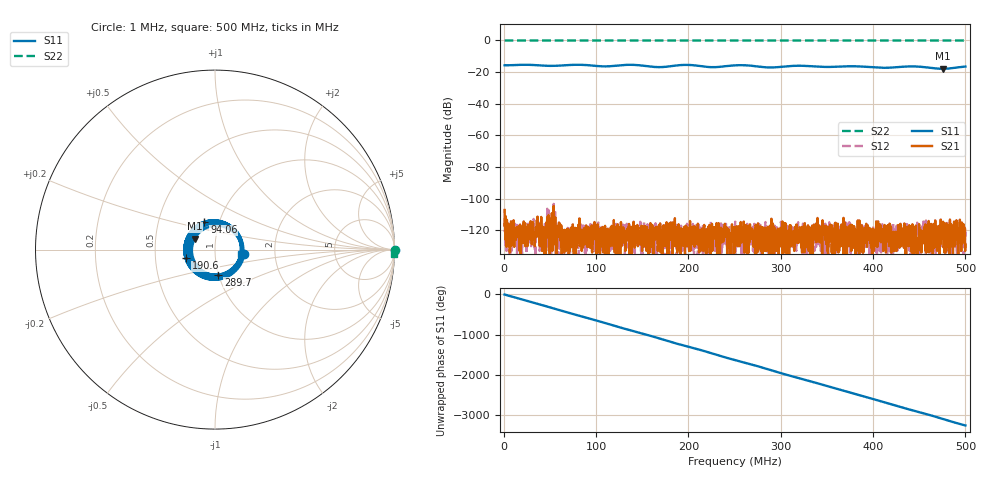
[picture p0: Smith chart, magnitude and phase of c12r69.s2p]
! MS46122B
! 1746301/73750021
! 11/3/2023 2:24:03 PM
! C:\USERS\SPEGWAL\DOWNLOADS\SAURABH\REACH\NODES\FRONT END\MEASUREMENTS\MEASURED S-PARAMETERS_03-11-2023\MS3-MS4_MS1_CABLE\69OHMS_SOURCE_S11.S2P
! CHANNEL.1
! TR.MEASUREMENT
! CORRECTED.DATA
# GHZ S RI R 50.0
! FREQ.GHZ  S11RE  S11IM  S21RE  S21IM  S12RE  S12IM  S22RE  S22IM
!; PortSelection: Port_12
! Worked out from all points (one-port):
!   2001 points, 1 MHz to 500 MHz, reference 50 ohm
!   lowest |S11| = -17.9 dB at 475.5 MHz (marker M1), VSWR 1.29, Z = 39.7 + j4.94 ohm
!   |S11| at or under -10 dB: start of sweep to end of sweep
!   S11 on the Smith chart (normalised r, x): 1 MHz: 1.39, -0.06; 94.06 MHz: 0.85, +0.27; 190.6 MHz: 0.72, -0.07; 289.7 MHz: 1.00, -0.28; 500 MHz: 1.34, -0.07
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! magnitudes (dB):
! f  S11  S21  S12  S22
! 1 MHz  -15.7  -107.1  -112.0  0.0
! 25.2 MHz  -15.4  -128.9  -127.0  0.0
! 52.4 MHz  -16.0  -120.7  -115.6  0.0
! 84.33 MHz  -15.4  -122.1  -120.7  0.0
! 94.06 MHz  -15.7  -118.4  -124.7  0.0
! 111 MHz  -16.4  -120.1  -124.0  0.0
! 139.2 MHz  -15.4  -130.5  -127.4  0.0
! 167.4 MHz  -16.8  -122.4  -123.0  0.0
! 190.6 MHz  -15.6  -127.0  -128.0  0.0
! 202.6 MHz  -15.5  -117.6  -120.5  0.0
! 226.5 MHz  -16.9  -118.4  -122.8  0.0
! 250.5 MHz  -15.7  -123.5  -120.1  0.0
! 262.7 MHz  -15.7  -127.7  -118.7  0.0
! 289.7 MHz  -17.0  -137.0  -127.7  0.0
! 315.4 MHz  -16.0  -118.0  -120.5  0.0
! 333.8 MHz  -16.3  -124.3  -124.3  0.0
! 350.8 MHz  -16.7  -117.6  -122.8  0.0
! 379.7 MHz  -16.3  -119.6  -119.7  0.0
! 416.9 MHz  -17.2  -123.0  -124.4  0.0
! 444.1 MHz  -16.4  -121.0  -122.8  0.0
! 475.5 MHz  -17.9  -118.4  -120.5  0.0
! 500 MHz  -16.5  -128.9  -124.0  0.0
